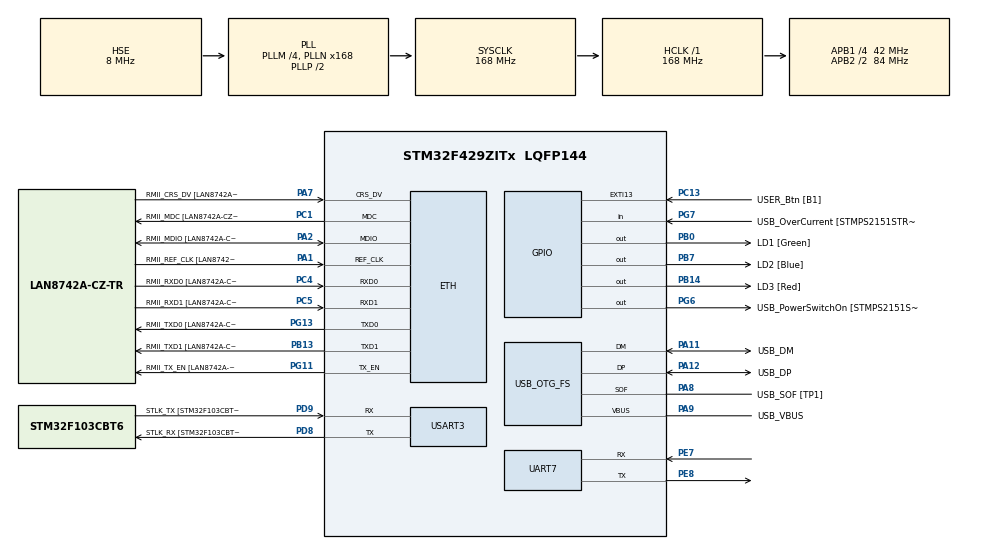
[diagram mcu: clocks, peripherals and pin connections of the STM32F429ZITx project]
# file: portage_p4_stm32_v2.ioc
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Mcu.Family=STM32F4
FREERTOS.Queues01=queue_read,16,10,1,Dynamic,NULL,NULL;queue_send,16,10,1,Dynamic,NULL,NULL;queue_read_uart,10,5,1,Dynamic,NULL,NULL;queue_send_uart,49,10,1,Dynamic,NULL,NULL
RCC.CortexFreq_Value=168000000
FREERTOS.BinarySemaphores01=semaphore_input,Dynamic,NULL;semaphore_display,Dynamic,NULL
PG6.Signal=GPIO_Output
PB14.GPIO_Label=LD3 [Red]
PG6.GPIO_Label=USB_PowerSwitchOn [STMPS2151STR_EN]
PA14.GPIO_Label=TCK
RCC.SYSCLKSourceVirtual=RCC_SYSCLKSOURCE_PLLCLK
PA11.Mode=Device_Only
PB0.GPIO_Label=LD1 [Green]
PC14/OSC32_IN.Mode=LSE-External-Oscillator
PC5.Mode=RMII
PC13.GPIO_Label=USER_Btn [B1]
PB13.GPIO_Label=RMII_TXD1 [LAN8742A-CZ-TR_TXD1]
PB13.Signal=ETH_TXD1
PG13.Signal=ETH_TXD0
PD9.Mode=Asynchronous
PG11.Signal=ETH_TX_EN
RCC.SYSCLKSource=RCC_SYSCLKSOURCE_PLLCLK
ProjectManager.StackSize=0x400
VP_FREERTOS_VS_CMSIS_V2.Mode=CMSIS_V2
PA12.Signal=USB_OTG_FS_DP
ETH.PHY_Value=0
PH0/OSC_IN.Mode=HSE-External-Clock-Source
RCC.HCLKFreq_Value=168000000
RCC.APB2TimFreq_Value=168000000
PH1/OSC_OUT.Signal=RCC_OSC_OUT
PD8.Signal=USART3_TX
RCC.AHBFreq_Value=168000000
RCC.HSE_VALUE=8000000
RCC.PLLMUL=RCC_PLL_MUL9
PC4.GPIO_Label=RMII_RXD0 [LAN8742A-CZ-TR_RXD0]
PA14.Mode=Serial_Wire
VP_SYS_VS_tim1.Mode=TIM1
PA10.GPIO_Label=USB_ID
PB7.Signal=GPIO_Output
PA8.Signal=USB_OTG_FS_SOF
PG13.Mode=RMII
ETH.PHY_Name=LAN8742A_PHY_ADDRESS
PH1/OSC_OUT.Mode=HSE-External-Clock-Source
PB7.GPIO_Label=LD2 [Blue]
Mcu.Package=LQFP144
NVIC.TimeBase=TIM1_UP_TIM10_IRQn
PC14/OSC32_IN.Signal=RCC_OSC32_IN
PA2.GPIO_Label=RMII_MDIO [LAN8742A-CZ-TR_MDIO]
NVIC.TimeBaseIP=TIM1
PA10.Signal=USB_OTG_FS_ID
USB_OTG_FS.VirtualMode=Device_Only
RCC.APB2CLKDivider=RCC_HCLK_DIV2
RCC.APB1TimFreq_Value=84000000
PG11.GPIO_Label=RMII_TX_EN [LAN8742A-CZ-TR_TXEN]
PC5.Signal=ETH_RXD1
PB13.Mode=RMII
PE7.Signal=UART7_RX
PC4.Mode=RMII
FREERTOS.Tasks01=defaultTask,24,128,StartDefaultTask,Default,NULL,Dynamic,NULL,NULL;read_input_task,8,128,read_input_function,Default,NULL,Dynamic,NULL,NULL;application_tas,8,128,application_function,Default,NULL,Dynamic,NULL,NULL;show_board_task,8,128,show_board_function,Default,NULL,Dynamic,NULL,NULL;timer_task,8,128,timer_function,Default,NULL,Dynamic,NULL,NULL;uart_tastk,8,128,uart_task_function,Default,NULL,Dynamic,NULL,NULL
PA7.Mode=RMII
PG7.Signal=GPIO_Input
PD9.GPIO_Label=STLK_TX [STM32F103CBT6_PA2]
PC13.Signal=GPXTI13
PA9.GPIO_Label=USB_VBUS
PC4.Signal=ETH_RXD0
PA11.GPIO_Label=USB_DM
PD9.Signal=USART3_RX
UART7.VirtualMode=Asynchronous
RCC.APB1CLKDivider=RCC_HCLK_DIV4
PG13.GPIO_Label=RMII_TXD0 [LAN8742A-CZ-TR_TXD0]
ETH.PhyAddress=0
PA12.GPIO_Label=USB_DP
PD8.GPIO_Label=STLK_RX [STM32F103CBT6_PA3]
PE8.Mode=Asynchronous
PA13.Signal=SYS_JTMS-SWDIO
PA9.Mode=Activate_VBUS
PA8.GPIO_Label=USB_SOF [TP1]
ProjectManager.TargetToolchain=TrueSTUDIO
PA9.Signal=USB_OTG_FS_VBUS
RCC.USBFreq_Value=48000000
PD8.Mode=Asynchronous
PA1.Signal=ETH_REF_CLK
PB14.Signal=GPIO_Output
board=NUCLEO-F429ZI
RCC.VCOOutputFreq_Value=336000000
PH0/OSC_IN.Signal=RCC_OSC_IN
RCC.APB2Freq_Value=84000000
PA1.Mode=RMII
RCC.PRESCALERUSB=RCC_USBCLKSOURCE_PLL_DIV1_5
PE8.Signal=UART7_TX
PG7.GPIO_Label=USB_OverCurrent [STMPS2151STR_FAULT]
PA1.GPIO_Label=RMII_REF_CLK [LAN8742A-CZ-TR_REFCLK0]
PC1.GPIO_Label=RMII_MDC [LAN8742A-CZ-TR_MDC]
PA13.Mode=Serial_Wire
Mcu.Name=STM32F429ZITx
PA2.Signal=ETH_MDIO
PA13.GPIO_Label=TMS
RCC.APB2TimCLKDivider=2
RCC.48MHZClocksFreq_Value=48000000
RCC.SYSCLKFreq_VALUE=168000000
PE7.Mode=Asynchronous
ETH.MediaInterface=ETH_MEDIA_INTERFACE_RMII
PA7.GPIO_Label=RMII_CRS_DV [LAN8742A-CZ-TR_CRS_DV]
PA12.Mode=Device_Only
PC5.GPIO_Label=RMII_RXD1 [LAN8742A-CZ-TR_RXD1]
USART3.VirtualMode=VM_ASYNC
PC15/OSC32_OUT.Mode=LSE-External-Oscillator
PG11.Mode=RMII
PA11.Signal=USB_OTG_FS_DM
PA14.Signal=SYS_JTCK-SWCLK
ProjectManager.HeapSize=0x200
NVIC.TIM1_UP_TIM10_IRQn=true\:0\:0\:false\:false\:true\:false\:false\:true
FREERTOS.Timers01=timer_blink,Callback01,osTimerOnce,Default,NULL,Dynamic,NULL;timer_to_play,Callback02,osTimerOnce,Default,NULL,Dynamic,NULL;timer_inactivity,Callback03,osTimerOnce,Default,NULL,Dynamic,NULL
RCC.HSI_VALUE=16000000
PH0/OSC_IN.GPIO_Label=MCO [STM32F103CBT6_PA8]
FREERTOS.Mutexes01=mutex_timer,Dynamic,NULL;mutex_element,Dynamic,NULL
RCC.PLLQ=7
NVIC.PriorityGroup=NVIC_PRIORITYGROUP_4
RCC.PLLM=4
RCC.PLLN=168
PA2.Mode=RMII
PC15/OSC32_OUT.Signal=RCC_OSC32_OUT
PA8.Mode=Activate_SOF_FS
RCC.APB1Freq_Value=42000000
PB0.Signal=GPIO_Output
PC1.Signal=ETH_MDC
PC1.Mode=RMII
PA7.Signal=ETH_CRS_DV

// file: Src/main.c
/* USER CODE BEGIN Header */
/**
 ******************************************************************************
 * @file           : main.c
 * @brief          : Main program body
 ******************************************************************************
 * @attention
 *
 * <h2><center>&copy; Copyright (c) 2020 STMicroelectronics.
 * All rights reserved.</center></h2>
 *
 * This software component is licensed by ST under Ultimate Liberty license
 * SLA0044, the "License"; You may not use this file except in compliance with
 * the License. You may obtain a copy of the License at:
 *                             www.st.com/SLA0044
 *
 ******************************************************************************
 */
/* USER CODE END Header */

#include "main.h"
#include "cmsis_os.h"

/* USER CODE BEGIN Includes */
#include "game.h"
#include "game_p4.h"
#include "leds_control.h"

#include <stdio.h>
#include <stdlib.h>
#include <ctype.h>
#include <string.h>

/* USER CODE END Includes */

ETH_HandleTypeDef heth;

UART_HandleTypeDef huart7;
UART_HandleTypeDef huart3;

PCD_HandleTypeDef hpcd_USB_OTG_FS;

/* Definitions for defaultTask */
osThreadId_t defaultTaskHandle;
const osThreadAttr_t defaultTask_attributes = {
		.name = "defaultTask",
		.priority = (osPriority_t) osPriorityNormal,
		.stack_size = 128 * 4
};
/* Definitions for read_input_task */
osThreadId_t read_input_taskHandle;
const osThreadAttr_t read_input_task_attributes = {
		.name = "read_input_task",
		.priority = (osPriority_t) osPriorityLow,
		.stack_size = 128 * 4
};
/* Definitions for application_tas */
osThreadId_t application_tasHandle;
const osThreadAttr_t application_tas_attributes = {
		.name = "application_tas",
		.priority = (osPriority_t) osPriorityLow,
		.stack_size = 128 * 4
};
/* Definitions for show_board_task */
osThreadId_t show_board_taskHandle;
const osThreadAttr_t show_board_task_attributes = {
		.name = "show_board_task",
		.priority = (osPriority_t) osPriorityLow,
		.stack_size = 128 * 4
};
/* Definitions for timer_task */
osThreadId_t timer_taskHandle;
const osThreadAttr_t timer_task_attributes = {
		.name = "timer_task",
		.priority = (osPriority_t) osPriorityLow,
		.stack_size = 128 * 4
};
/* Definitions for uart_tastk */
osThreadId_t uart_tastkHandle;
const osThreadAttr_t uart_tastk_attributes = {
		.name = "uart_tastk",
		.priority = (osPriority_t) osPriorityLow,
		.stack_size = 128 * 4
};
/* Definitions for queue_read */
osMessageQueueId_t queue_readHandle;
const osMessageQueueAttr_t queue_read_attributes = {
		.name = "queue_read"
};
/* Definitions for queue_send */
osMessageQueueId_t queue_sendHandle;
const osMessageQueueAttr_t queue_send_attributes = {
		.name = "queue_send"
};
/* Definitions for queue_read_uart */
osMessageQueueId_t queue_read_uartHandle;
const osMessageQueueAttr_t queue_read_uart_attributes = {
		.name = "queue_read_uart"
};
/* Definitions for queue_send_uart */
osMessageQueueId_t queue_send_uartHandle;
const osMessageQueueAttr_t queue_send_uart_attributes = {
		.name = "queue_send_uart"
};
/* Definitions for timer_blink */
osTimerId_t timer_blinkHandle;
const osTimerAttr_t timer_blink_attributes = {
		.name = "timer_blink"
};
/* Definitions for timer_to_play */
osTimerId_t timer_to_playHandle;
const osTimerAttr_t timer_to_play_attributes = {
		.name = "timer_to_play"
};
/* Definitions for timer_inactivity */
osTimerId_t timer_inactivityHandle;
const osTimerAttr_t timer_inactivity_attributes = {
		.name = "timer_inactivity"
};
/* Definitions for mutex_timer */
osMutexId_t mutex_timerHandle;
const osMutexAttr_t mutex_timer_attributes = {
		.name = "mutex_timer"
};
/* Definitions for mutex_element */
osMutexId_t mutex_elementHandle;
const osMutexAttr_t mutex_element_attributes = {
		.name = "mutex_element"
};
/* Definitions for semaphore_input */
osSemaphoreId_t semaphore_inputHandle;
const osSemaphoreAttr_t semaphore_input_attributes = {
		.name = "semaphore_input"
};
/* Definitions for semaphore_display */
osSemaphoreId_t semaphore_displayHandle;
const osSemaphoreAttr_t semaphore_display_attributes = {
		.name = "semaphore_display"
};
/* USER CODE BEGIN PV */

extern RGB matrice[7][7];
static char message[9];
extern int actual_player;
extern Timer timer_blink;
extern Timer timer_to_play;
extern Timer timer_idle;
extern Timer tab_timer[NB_TIMERS];
int init_game = 0;

extern RGB bckgrd;
extern RGB token_player_1;
extern RGB token_player_2;

/* USER CODE END PV */

void SystemClock_Config(void);
static void MX_GPIO_Init(void);
static void MX_ETH_Init(void);
static void MX_USART3_UART_Init(void);
static void MX_USB_OTG_FS_PCD_Init(void);
static void MX_UART7_Init(void);
void StartDefaultTask(void *argument);
void read_input_function(void *argument);
void application_function(void *argument);
void show_board_function(void *argument);
void timer_function(void *argument);
void uart_task_function(void *argument);
void Callback01(void *argument);
void Callback02(void *argument);
void Callback03(void *argument);

int main(void)
{

	/* MCU Configuration--------------------------------------------------------*/

	/* Reset of all peripherals, Initializes the Flash interface and the Systick. */
	HAL_Init();

	/* Configure the system clock */
	SystemClock_Config();

	/* Initialize all configured peripherals */
	MX_GPIO_Init();
	MX_ETH_Init();
	MX_USART3_UART_Init();
	MX_USB_OTG_FS_PCD_Init();
	MX_UART7_Init();

	/* Init scheduler */
	osKernelInitialize();
	/* Create the mutex(es) */
	/* creation of mutex_timer */
	mutex_timerHandle = osMutexNew(&mutex_timer_attributes);

	/* creation of mutex_element */
	mutex_elementHandle = osMutexNew(&mutex_element_attributes);

	/* Create the semaphores(s) */
	/* creation of semaphore_input */
	semaphore_inputHandle = osSemaphoreNew(1, 1, &semaphore_input_attributes);

	/* creation of semaphore_display */
	semaphore_displayHandle = osSemaphoreNew(1, 1, &semaphore_display_attributes);

	/* Create the timer(s) */
	/* creation of timer_blink */
	timer_blinkHandle = osTimerNew(Callback01, osTimerOnce, NULL, &timer_blink_attributes);

	/* creation of timer_to_play */
	timer_to_playHandle = osTimerNew(Callback02, osTimerOnce, NULL, &timer_to_play_attributes);

	/* creation of timer_inactivity */
	timer_inactivityHandle = osTimerNew(Callback03, osTimerOnce, NULL, &timer_inactivity_attributes);

	/* Create the queue(s) */
	/* creation of queue_read */
	queue_readHandle = osMessageQueueNew (16, 10, &queue_read_attributes);

	/* creation of queue_send */
	queue_sendHandle = osMessageQueueNew (16, 10, &queue_send_attributes);

	/* creation of queue_read_uart */
	queue_read_uartHandle = osMessageQueueNew (10, 9, &queue_read_uart_attributes);

	/* creation of queue_send_uart */
	queue_send_uartHandle = osMessageQueueNew (49, 10, &queue_send_uart_attributes);

	/* Create the thread(s) */
	/* creation of defaultTask */
	defaultTaskHandle = osThreadNew(StartDefaultTask, NULL, &defaultTask_attributes);

	/* creation of read_input_task */
	read_input_taskHandle = osThreadNew(read_input_function, NULL, &read_input_task_attributes);

	/* creation of application_tas */
	application_tasHandle = osThreadNew(application_function, NULL, &application_tas_attributes);

	/* creation of show_board_task */
	show_board_taskHandle = osThreadNew(show_board_function, NULL, &show_board_task_attributes);

	/* creation of timer_task */
	timer_taskHandle = osThreadNew(timer_function, NULL, &timer_task_attributes);

	/* creation of uart_tastk */
	uart_tastkHandle = osThreadNew(uart_task_function, NULL, &uart_tastk_attributes);

	/* Start scheduler */
	osKernelStart();

	/* We should never get here as control is now taken by the scheduler */
	/* Infinite loop */
	while (1)
	{

	}
}

void SystemClock_Config(void)
{
	RCC_OscInitTypeDef RCC_OscInitStruct = {0};
	RCC_ClkInitTypeDef RCC_ClkInitStruct = {0};

	/** Configure the main internal regulator output voltage
	 */
	__HAL_RCC_PWR_CLK_ENABLE();
	__HAL_PWR_VOLTAGESCALING_CONFIG(PWR_REGULATOR_VOLTAGE_SCALE1);
	/** Initializes the CPU, AHB and APB busses clocks
	 */
	RCC_OscInitStruct.OscillatorType = RCC_OSCILLATORTYPE_HSE;
	RCC_OscInitStruct.HSEState = RCC_HSE_BYPASS;
	RCC_OscInitStruct.PLL.PLLState = RCC_PLL_ON;
	RCC_OscInitStruct.PLL.PLLSource = RCC_PLLSOURCE_HSE;
	RCC_OscInitStruct.PLL.PLLM = 4;
	RCC_OscInitStruct.PLL.PLLN = 168;
	RCC_OscInitStruct.PLL.PLLP = RCC_PLLP_DIV2;
	RCC_OscInitStruct.PLL.PLLQ = 7;
	if (HAL_RCC_OscConfig(&RCC_OscInitStruct) != HAL_OK)
	{
		Error_Handler();
	}
	/** Initializes the CPU, AHB and APB busses clocks
	 */
	RCC_ClkInitStruct.ClockType = RCC_CLOCKTYPE_HCLK|RCC_CLOCKTYPE_SYSCLK
			|RCC_CLOCKTYPE_PCLK1|RCC_CLOCKTYPE_PCLK2;
	RCC_ClkInitStruct.SYSCLKSource = RCC_SYSCLKSOURCE_PLLCLK;
	RCC_ClkInitStruct.AHBCLKDivider = RCC_SYSCLK_DIV1;
	RCC_ClkInitStruct.APB1CLKDivider = RCC_HCLK_DIV4;
	RCC_ClkInitStruct.APB2CLKDivider = RCC_HCLK_DIV2;

	if (HAL_RCC_ClockConfig(&RCC_ClkInitStruct, FLASH_LATENCY_5) != HAL_OK)
	{
		Error_Handler();
	}
}

static void MX_ETH_Init(void)
{

	heth.Instance = ETH;
	heth.Init.AutoNegotiation = ETH_AUTONEGOTIATION_ENABLE;
	heth.Init.PhyAddress = LAN8742A_PHY_ADDRESS;
	heth.Init.MACAddr[0] =   0x00;
	heth.Init.MACAddr[1] =   0x80;
	heth.Init.MACAddr[2] =   0xE1;
	heth.Init.MACAddr[3] =   0x00;
	heth.Init.MACAddr[4] =   0x00;
	heth.Init.MACAddr[5] =   0x00;
	heth.Init.RxMode = ETH_RXPOLLING_MODE;
	heth.Init.ChecksumMode = ETH_CHECKSUM_BY_HARDWARE;
	heth.Init.MediaInterface = ETH_MEDIA_INTERFACE_RMII;

	if (HAL_ETH_Init(&heth) != HAL_OK)
	{
		Error_Handler();
	}

}

static void MX_UART7_Init(void)
{

	huart7.Instance = UART7;
	huart7.Init.BaudRate = 115200;
	huart7.Init.WordLength = UART_WORDLENGTH_8B;
	huart7.Init.StopBits = UART_STOPBITS_1;
	huart7.Init.Parity = UART_PARITY_NONE;
	huart7.Init.Mode = UART_MODE_TX_RX;
	huart7.Init.HwFlowCtl = UART_HWCONTROL_NONE;
	huart7.Init.OverSampling = UART_OVERSAMPLING_16;
	if (HAL_UART_Init(&huart7) != HAL_OK)
	{
		Error_Handler();
	}

}

static void MX_USART3_UART_Init(void)
{

	huart3.Instance = USART3;
	huart3.Init.BaudRate = 115200;
	huart3.Init.WordLength = UART_WORDLENGTH_8B;
	huart3.Init.StopBits = UART_STOPBITS_1;
	huart3.Init.Parity = UART_PARITY_NONE;
	huart3.Init.Mode = UART_MODE_TX_RX;
	huart3.Init.HwFlowCtl = UART_HWCONTROL_NONE;
	huart3.Init.OverSampling = UART_OVERSAMPLING_16;
	if (HAL_UART_Init(&huart3) != HAL_OK)
	{
		Error_Handler();
	}

}

static void MX_USB_OTG_FS_PCD_Init(void)
{

	hpcd_USB_OTG_FS.Instance = USB_OTG_FS;
	hpcd_USB_OTG_FS.Init.dev_endpoints = 4;
	hpcd_USB_OTG_FS.Init.speed = PCD_SPEED_FULL;
	hpcd_USB_OTG_FS.Init.dma_enable = DISABLE;
	hpcd_USB_OTG_FS.Init.phy_itface = PCD_PHY_EMBEDDED;
	hpcd_USB_OTG_FS.Init.Sof_enable = ENABLE;
	hpcd_USB_OTG_FS.Init.low_power_enable = DISABLE;
	hpcd_USB_OTG_FS.Init.lpm_enable = DISABLE;
	hpcd_USB_OTG_FS.Init.vbus_sensing_enable = ENABLE;
	hpcd_USB_OTG_FS.Init.use_dedicated_ep1 = DISABLE;
	if (HAL_PCD_Init(&hpcd_USB_OTG_FS) != HAL_OK)
	{
		Error_Handler();
	}

}

static void MX_GPIO_Init(void)
{
	GPIO_InitTypeDef GPIO_InitStruct = {0};

	/* GPIO Ports Clock Enable */
	__HAL_RCC_GPIOC_CLK_ENABLE();
	__HAL_RCC_GPIOH_CLK_ENABLE();
	__HAL_RCC_GPIOA_CLK_ENABLE();
	__HAL_RCC_GPIOB_CLK_ENABLE();
	__HAL_RCC_GPIOE_CLK_ENABLE();
	__HAL_RCC_GPIOD_CLK_ENABLE();
	__HAL_RCC_GPIOG_CLK_ENABLE();

	/*Configure GPIO pin Output Level */
	HAL_GPIO_WritePin(GPIOB, LD1_Pin|LD3_Pin|LD2_Pin, GPIO_PIN_RESET);

	/*Configure GPIO pin Output Level */
	HAL_GPIO_WritePin(USB_PowerSwitchOn_GPIO_Port, USB_PowerSwitchOn_Pin, GPIO_PIN_RESET);

	/*Configure GPIO pin : USER_Btn_Pin */
	GPIO_InitStruct.Pin = USER_Btn_Pin;
	GPIO_InitStruct.Mode = GPIO_MODE_IT_RISING;
	GPIO_InitStruct.Pull = GPIO_NOPULL;
	HAL_GPIO_Init(USER_Btn_GPIO_Port, &GPIO_InitStruct);

	/*Configure GPIO pins : LD1_Pin LD3_Pin LD2_Pin */
	GPIO_InitStruct.Pin = LD1_Pin|LD3_Pin|LD2_Pin;
	GPIO_InitStruct.Mode = GPIO_MODE_OUTPUT_PP;
	GPIO_InitStruct.Pull = GPIO_NOPULL;
	GPIO_InitStruct.Speed = GPIO_SPEED_FREQ_LOW;
	HAL_GPIO_Init(GPIOB, &GPIO_InitStruct);

	/*Configure GPIO pin : USB_PowerSwitchOn_Pin */
	GPIO_InitStruct.Pin = USB_PowerSwitchOn_Pin;
	GPIO_InitStruct.Mode = GPIO_MODE_OUTPUT_PP;
	GPIO_InitStruct.Pull = GPIO_NOPULL;
	GPIO_InitStruct.Speed = GPIO_SPEED_FREQ_LOW;
	HAL_GPIO_Init(USB_PowerSwitchOn_GPIO_Port, &GPIO_InitStruct);

	/*Configure GPIO pin : USB_OverCurrent_Pin */
	GPIO_InitStruct.Pin = USB_OverCurrent_Pin;
	GPIO_InitStruct.Mode = GPIO_MODE_INPUT;
	GPIO_InitStruct.Pull = GPIO_NOPULL;
	HAL_GPIO_Init(USB_OverCurrent_GPIO_Port, &GPIO_InitStruct);

}

void StartDefaultTask(void *argument)
{
	/* USER CODE BEGIN 5 */
	/*char *trame_debug;
	char *trame_debug_send;
	int count = 0;
	trame_debug = "dHello_World\n";
	int length_trame = strlen(trame_debug);
	trame_debug_send = pvPortMalloc(length_trame);
	trame_debug_send[0] = 'd';
	osDelay(100);*/
	/* Infinite loop */
	for(;;)
	{

		osDelay(1);
		/*if(HAL_GPIO_ReadPin(USER_Btn_GPIO_Port, USER_Btn_Pin)){
			count ++;
			if (count == 4){
				count = 1;
			}
			if (count == 1){
				for (int i = 1; i < length_trame; i++){
					trame_debug_send[i] = tolower(trame_debug[i]);
				}
			}
			else if (count == 2){
				for (int i = 1; i < length_trame; i++){
					trame_debug_send[i] = toupper(trame_debug[i]);
				}
			}
			else if (count == 3){
				int end = length_trame - 2;
				for (int i = 1; i < length_trame -1; i++){
					trame_debug_send[i] = trame_debug[end];
					end --;
				}
			}

			HAL_UART_Transmit(&huart7,(uint8_t *) trame_debug_send, length_trame, 10);
		}*/
	}
}
/* USER CODE END 5 */

void read_input_function(void *argument)
{
	/* USER CODE BEGIN read_input_function */
	char command[10];
	int	indexcorrector = 0;
	/* Infinite loop */
	for(;;)
	{
		/*if(HAL_GPIO_ReadPin(USER_Btn_GPIO_Port, USER_Btn_Pin)){
			start_game();
		}*/
		if ((readbutton(message, 9)) == LCRC_OK){
			if (init_game == 0) {
				start_game();
				init_game = 1;
			}
			if (message[0] == 112){
				command[0] = CLAVIER;
				if (actual_player == PLAYER_2){
					indexcorrector = 4;
				}
				else{
					indexcorrector = 0;
				}
				if (message[3] == 100){
					if (message[1 + indexcorrector] == 49){
						command[1] = PLAYER_1;
					}
					else if (message[1 + indexcorrector] == 50){
						command[1] = PLAYER_2;
					}
					if (message[2 + indexcorrector] == 108){
						command[2] = left;
						send_message(QUEUE_READ, command, 10);
					}
					else if(message[2 + indexcorrector] == 114){
						command[2] = right;
						send_message(QUEUE_READ, command, 10);
					}
					else if(message[2 + indexcorrector] == 100){
						command[2] = down;
						send_message(QUEUE_READ, command, 10);
					}
					else if(message[2 + indexcorrector] == 117){
						command[2] = up;
						send_message(QUEUE_READ, command, 10);
					}
				}
			}
		}
		osDelay(1);
	}
	/* USER CODE END read_input_function */
}

void application_function(void *argument)
{
	/* USER CODE BEGIN application_function */
	char message_receive_app[10] = {0};
	char message_send_app[10] = {0};
	int cpt_timer_win = 0;
	pos_token_t move_token, move_token_next_player;
	winner_t winner;
	actual_player = PLAYER_1;
	int state_game = 0;

	/* Infinite loop */
	for(;;)
	{
		while (cpt_timer_win < 10){
			if (receive_message(QUEUE_READ, message_receive_app, 1) == osOK) {
				if (message_receive_app[0] == CLAVIER){
					if (state_game == 0){
						if (message_receive_app[1] == PLAYER_1){
							actual_player = PLAYER_1;
						}
						else if (message_receive_app[1] == PLAYER_2){
							actual_player = PLAYER_2;
						}
						start_game();
						state_game = 1;
						init_timer();
						winner.status = live;
					}
					else{
						if(actual_player == message_receive_app[1]){
							message_send_app[0] = message_receive_app[0];
							if (message_receive_app[1] == PLAYER_1){
								message_send_app[1] = PLAYER_1;
							}
							else if (message_receive_app[1] == PLAYER_2){
								message_send_app[1] = PLAYER_2;
							}
							if (message_receive_app[2] == left){
								move_token = gp4_top_move_token_left();
								StartTimer(timer_idle.number, DELAY_IDLE);
								compute_message(message_send_app, move_token);
								send_message(QUEUE_SEND, message_send_app, 1);
							}
							else if (message_receive_app[2] == right){
								move_token = gp4_top_move_token_right();
								StartTimer(timer_idle.number, DELAY_IDLE);
								compute_message(message_send_app, move_token);
								send_message(QUEUE_SEND, message_send_app, 1);
							}
							else if (message_receive_app[2] == down){
								function_play_token(move_token, message_send_app,
										move_token_next_player, message_receive_app, &timer_blink, &winner);
							}
						}
					}
				}
				else if((message_receive_app[0] == t) && (state_game == 1)){
					if (winner.status == stop_winner){
						message_send_app[0] = message_receive_app[0];
						message_send_app[1] = actual_player;
						blink_led(winner, message_send_app);
						cpt_timer_win ++;
						StartTimer(timer_blink.number, DELAY_BLINK);
					}
					else if (winner.status == live){
						message_send_app[0] = message_receive_app[0];
						message_send_app[1] = actual_player;
						function_play_token(move_token, message_send_app,
								move_token_next_player, message_receive_app, &timer_blink, &winner);
						StartTimer(timer_idle.number, DELAY_IDLE);
					}
				}
			}
		}
		cpt_timer_win = 0;
		state_game = 0;
		setAllBlack();

		osDelay(1);
	}
	/* USER CODE END application_function */
}

void show_board_function(void *argument)
{
	/* USER CODE BEGIN show_board_function */
	char message_send[10];
	RGB token;
	//SetLedMatrice();
	/* Infinite loop */
	for(;;)
	{
		if (osMessageQueueGetCount(queue_sendHandle) > 0){
			receive_message(QUEUE_SEND, message_send, 1);
			if((message_send[0] == CLAVIER) || (message_send[0] == t)){
				if (message_send[1] == PLAYER_1){
					token = token_player_1;
				}
				else if (message_send[1] == PLAYER_2){
					token = token_player_2;
				}
				int col_beg = message_send[4];
				int line_beg = message_send[5];
				int col_end = message_send[6];
				int line_end = message_send[7];
				matrice[col_beg][line_beg] = bckgrd;
				matrice[col_end][line_end] = token;
				SetLedMatrice();

			}
		}
		osDelay(1);
	}
	/* USER CODE END show_board_function */
}

void timer_function(void *argument)
{
	/* USER CODE BEGIN timer_function */
	char message_timer[10] = {0};
	/* Infinite loop */
	for(;;)
	{
		osDelay(DELAY_SLEEP_TIMER/1000);
		for (int i = 0; i < NB_TIMERS; i++){
			//pthread_mutex_lock(&mutex_timer);
			if (tab_timer[i].status == START){
				tab_timer[i].countdown -= 1;
				if (tab_timer[i].countdown == 0){
					message_timer[0] = t;
					message_timer[1] = i;
					send_message(QUEUE_READ, message_timer, 1);
					tab_timer[i].status = STOP;
					//StopTimer(i);
				}
			}
			//pthread_mutex_unlock(&mutex_timer);
		}
		osDelay(1);
	}
	/* USER CODE END timer_function */
}

void uart_task_function(void *argument)
{
	/* USER CODE BEGIN uart_task_function */
	char message_receive[9] = {0};
	char message_send[10] = {0};
	/* Infinite loop */
	for(;;)
	{
		if(osMessageQueueGetCount(queue_send_uartHandle) > 0){
			osMessageQueueGet(queue_send_uartHandle, message_send, 0, 10);
			HAL_UART_Transmit(&huart7,(uint8_t *) message_send, SIZEOFMESSAGE, 10);
			osDelay(10);
		}
		if(HAL_UART_Receive(&huart7,(uint8_t *) message_receive, 9, 10) == HAL_OK){
			osMessageQueuePut(queue_read_uartHandle, message_receive, 0, 10);
		}
		osDelay(1);
	}
	/* USER CODE END uart_task_function */
}

/* Callback01 function */
void Callback01(void *argument)
{
}

/* Callback02 function */
void Callback02(void *argument)
{
}

/* Callback03 function */
void Callback03(void *argument)
{
}

void HAL_TIM_PeriodElapsedCallback(TIM_HandleTypeDef *htim)
{
	if (htim->Instance == TIM1) {
		HAL_IncTick();
	}
}

void Error_Handler(void)
{
}

/************************ (C) COPYRIGHT STMicroelectronics *****END OF FILE****/
